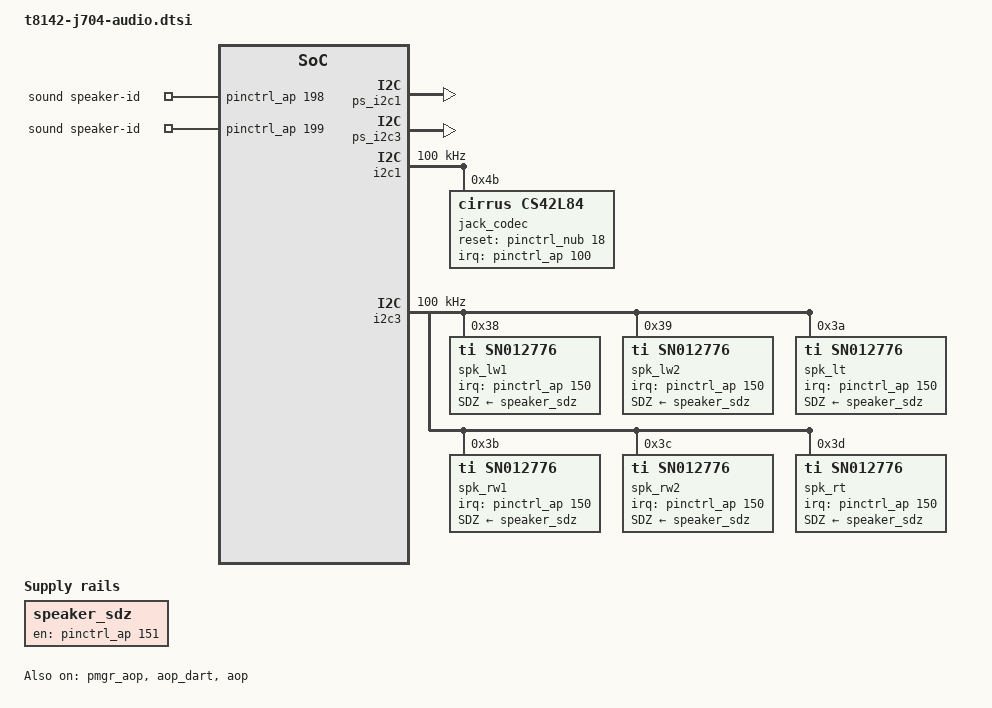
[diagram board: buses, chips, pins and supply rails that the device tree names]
// SPDX-License-Identifier: GPL-2.0-only OR MIT

#include <dt-bindings/gpio/gpio.h>
#include <dt-bindings/interrupt-controller/irq.h>

/ {
	speaker_sdz: regulator-sn012776-sdz {
		compatible = "regulator-fixed";
		regulator-name = "sn012776-sdz";
		gpios = <&pinctrl_ap 151 GPIO_ACTIVE_HIGH>;
		enable-active-high;
	};

	sound-jack {
		compatible = "apple,j704-macaudio-jack", "apple,macaudio";
		model = "MacBook Pro J704 Jack";
		#address-cells = <1>;
		#size-cells = <0>;

		dai-link@0 {
			reg = <0>;
			link-name = "Headphone Jack";

			cpu {
				sound-dai = <&aop_audio 4>;
			};

			codec {
				sound-dai = <&jack_codec>;
			};
		};
	};

	sound {
		compatible = "apple,j704-macaudio", "apple,macaudio";
		model = "MacBook Pro J704";
		speaker-id-gpios = <&pinctrl_ap 198 GPIO_ACTIVE_HIGH>,
				   <&pinctrl_ap 199 GPIO_ACTIVE_HIGH>;
		#address-cells = <1>;
		#size-cells = <0>;

		dai-link@0 {
			reg = <0>;
			link-name = "Speakers";

			cpu {
				sound-dai = <&aop_audio 3>;
			};

			codec {
				sound-dai = <&spk_lw1>, <&spk_rw1>, <&spk_lw2>, <&spk_rw2>,
					    <&spk_lt>, <&spk_rt>;
			};
		};
	};
};

&ps_i2c1 {
	status = "okay";
};

&ps_i2c3 {
	status = "okay";
};

&pmgr_aop {
	status = "okay";
};

&aop_mbox {
	status = "okay";
};

&aop_setup_mbox {
	status = "okay";
};

&aop_dart {
	status = "okay";
};

&admac_base_ns {
	status = "okay";
};

&admac_leap_s {
	status = "okay";
};

&aop {
	status = "okay";
};

&aop_audio {
	apple,chassis-name = "J704";
	apple,machine-kind = "MacBook Pro";
};

&i2c1 {
	status = "okay";
	clock-frequency = <100000>;

	jack_codec: codec@4b {
		compatible = "cirrus,cs42l84";
		reg = <0x4b>;
		/* The driver drives this line high to run the codec. */
		reset-gpios = <&pinctrl_nub 18 GPIO_ACTIVE_HIGH>;
		interrupts-extended = <&pinctrl_ap 100 IRQ_TYPE_LEVEL_LOW>;
		#sound-dai-cells = <0>;
		sound-name-prefix = "Jack";
	};
};

/* All six amplifiers share SDZ and the level-low fault interrupt. */
&i2c3 {
	status = "okay";
	clock-frequency = <100000>;

	spk_lw1: codec@38 {
		compatible = "ti,sn012776", "ti,tas2764";
		reg = <0x38>;
		SDZ-supply = <&speaker_sdz>;
		apple,sdz-group-fail-closed;
		apple,deferred-shutdown;
		#sound-dai-cells = <0>;
		sound-name-prefix = "Left Woofer 1";
		interrupts-extended = <&pinctrl_ap 150 IRQ_TYPE_LEVEL_LOW>;
		ti,bclk-ratio = <250>;
		ti,imon-slot-no = <0>;
		ti,vmon-slot-no = <2>;
	};

	spk_lw2: codec@39 {
		compatible = "ti,sn012776", "ti,tas2764";
		reg = <0x39>;
		SDZ-supply = <&speaker_sdz>;
		apple,sdz-group-fail-closed;
		apple,deferred-shutdown;
		#sound-dai-cells = <0>;
		sound-name-prefix = "Left Woofer 2";
		interrupts-extended = <&pinctrl_ap 150 IRQ_TYPE_LEVEL_LOW>;
		ti,bclk-ratio = <250>;
		ti,imon-slot-no = <8>;
		ti,vmon-slot-no = <10>;
	};

	spk_lt: codec@3a {
		compatible = "ti,sn012776", "ti,tas2764";
		reg = <0x3a>;
		SDZ-supply = <&speaker_sdz>;
		apple,sdz-group-fail-closed;
		apple,deferred-shutdown;
		#sound-dai-cells = <0>;
		sound-name-prefix = "Left Tweeter";
		interrupts-extended = <&pinctrl_ap 150 IRQ_TYPE_LEVEL_LOW>;
		ti,bclk-ratio = <250>;
		ti,imon-slot-no = <16>;
		ti,vmon-slot-no = <18>;
	};

	spk_rw1: codec@3b {
		compatible = "ti,sn012776", "ti,tas2764";
		reg = <0x3b>;
		SDZ-supply = <&speaker_sdz>;
		apple,sdz-group-fail-closed;
		apple,deferred-shutdown;
		#sound-dai-cells = <0>;
		sound-name-prefix = "Right Woofer 1";
		interrupts-extended = <&pinctrl_ap 150 IRQ_TYPE_LEVEL_LOW>;
		ti,bclk-ratio = <250>;
		ti,imon-slot-no = <4>;
		ti,vmon-slot-no = <6>;
	};

	spk_rw2: codec@3c {
		compatible = "ti,sn012776", "ti,tas2764";
		reg = <0x3c>;
		SDZ-supply = <&speaker_sdz>;
		apple,sdz-group-fail-closed;
		apple,deferred-shutdown;
		#sound-dai-cells = <0>;
		sound-name-prefix = "Right Woofer 2";
		interrupts-extended = <&pinctrl_ap 150 IRQ_TYPE_LEVEL_LOW>;
		ti,bclk-ratio = <250>;
		ti,imon-slot-no = <12>;
		ti,vmon-slot-no = <14>;
	};

	spk_rt: codec@3d {
		compatible = "ti,sn012776", "ti,tas2764";
		reg = <0x3d>;
		SDZ-supply = <&speaker_sdz>;
		apple,sdz-group-fail-closed;
		apple,deferred-shutdown;
		#sound-dai-cells = <0>;
		sound-name-prefix = "Right Tweeter";
		interrupts-extended = <&pinctrl_ap 150 IRQ_TYPE_LEVEL_LOW>;
		ti,bclk-ratio = <250>;
		ti,imon-slot-no = <20>;
		ti,vmon-slot-no = <22>;
	};
};

&pinctrl_nub {
	/* Only the codec reset pin is accessible to the host. */
	gpio-reserved-ranges = <0 18>, <19 21>;
};
